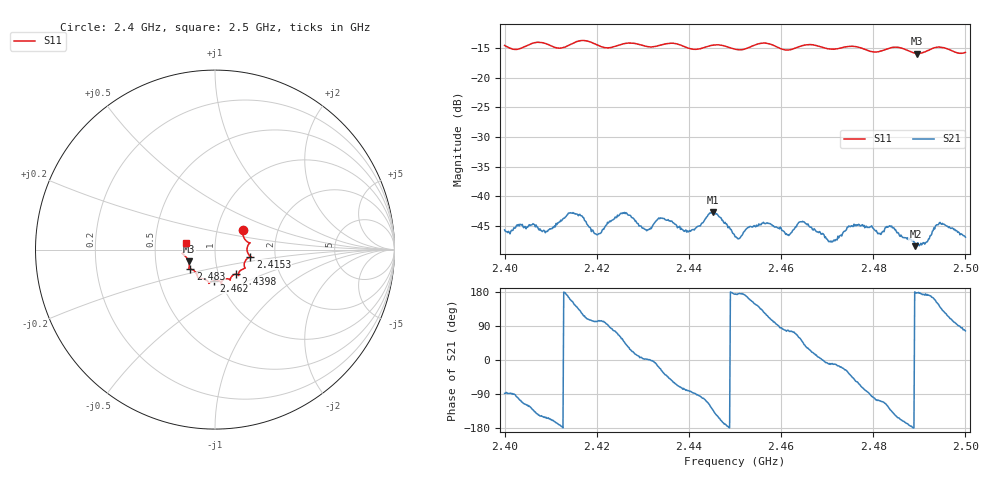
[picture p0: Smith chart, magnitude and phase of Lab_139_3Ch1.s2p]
# Hz S RI R 50
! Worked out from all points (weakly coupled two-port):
!   601 points, 2.4 GHz to 2.5 GHz, reference 50 ohm
!   highest |S21| = -42.72 dB at 2.4452 GHz (marker M1); lowest = -48.5 dB at 2.4892 GHz (marker M2)
!   lowest |S11| = -15.9 dB at 2.4895 GHz (marker M3), VSWR 1.38, Z = 37 - j5 ohm
!   |S11| at or under -10 dB: start of sweep to end of sweep
!   S12 and S22 are empty: the file has one direction only
!   S11 on the Smith chart (normalised r, x): 2.4 GHz: 1.33, +0.29; 2.4153 GHz: 1.48, -0.12; 2.4398 GHz: 1.21, -0.34; 2.462 GHz: 0.93, -0.33; 2.483 GHz: 0.74, -0.17; 2.5 GHz: 0.72, +0.06
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2.4e9  0.1547 0.1066  0.00016 -0.00517  0 0  0 0
2.409167e9  0.1906 0.0331  -0.00451 -0.00221  0 0  0 0
2.415333e9  0.1967 -0.0387  -0.00574 0.00407  0 0  0 0
2.416667e9  0.2025 -0.0427  -0.00381 0.00565  0 0  0 0
2.42e9  0.1848 -0.0459  -0.000997 0.0046  0 0  0 0
2.4255e9  0.1657 -0.099  0.00391 0.00592  0 0  0 0
2.430833e9  0.1448 -0.114  0.00508 0.000176  0 0  0 0
2.433333e9  0.1311 -0.1336  0.00615 -0.00189  0 0  0 0
2.439833e9  0.1154 -0.1363  0.000811 -0.0049  0 0  0 0
2.445167e9  0.0843 -0.1693  -0.00483 -0.00548  0 0  0 0
2.45e9  0.0649 -0.1624  -0.0045 0.000518  0 0  0 0
2.4565e9  0.0389 -0.193  -0.00319 0.00491  0 0  0 0
2.462e9  -0.00519 -0.173  0.00121 0.00464  0 0  0 0
2.466667e9  -0.0342 -0.1878  0.00503 0.00189  0 0  0 0
2.470833e9  -0.0563 -0.1658  0.00403 -0.000666  0 0  0 0
2.474833e9  -0.0916 -0.1604  0.00443 -0.00335  0 0  0 0
2.483e9  -0.1377 -0.1094  -0.00276 -0.0048  0 0  0 0
2.483333e9  -0.1402 -0.1091  -0.0032 -0.00448  0 0  0 0
2.489167e9  -0.1449 -0.0707  -0.00376 0.000109  0 0  0 0
2.4895e9  -0.1463 -0.0659  -0.00379 0.000173  0 0  0 0
2.4945e9  -0.1807 -0.021  -0.00456 0.00388  0 0  0 0
2.5e9  -0.1595 0.0391  0.00103 0.00437  0 0  0 0
